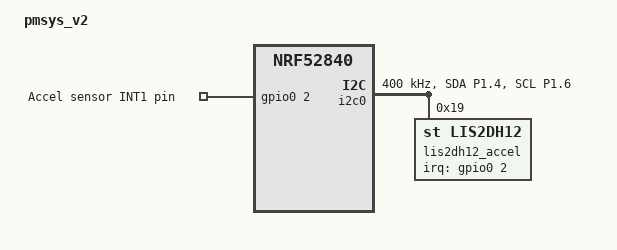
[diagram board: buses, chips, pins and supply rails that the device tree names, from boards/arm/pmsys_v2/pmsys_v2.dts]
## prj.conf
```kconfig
#
# Copyright (c) 2023 Nordic Semiconductor ASA
#
# SPDX-License-Identifier: Apache-2.0
#

# Use internal RC (no external 32khz)
CONFIG_CLOCK_CONTROL_NRF_K32SRC_RC=y
CONFIG_CLOCK_CONTROL_NRF_K32SRC_XTAL=n
CONFIG_CLOCK_CONTROL_NRF_K32SRC_250PPM=y

# Bluetooth
CONFIG_BT=y
CONFIG_BT_PERIPHERAL=y
CONFIG_BT_DEVICE_NAME="PSENS"    # This is prefix name. We will add 2 bytes address at the end of name
CONFIG_BT_LOG_LEVEL_OFF=y

# Log configuration
CONFIG_LOG=y
CONFIG_CONSOLE=y
CONFIG_USE_SEGGER_RTT=y
CONFIG_RTT_CONSOLE=y
CONFIG_LOG_BACKEND_RTT=y
CONFIG_CBPRINTF_FP_SUPPORT=y
CONFIG_LOG_MODE_IMMEDIATE=y

# Interfaces
CONFIG_I2C=y
CONFIG_I2C_LOG_LEVEL_OFF=y

# Required to disable default behavior of deep sleep on timeout
CONFIG_POWEROFF=y
CONFIG_HWINFO=y

# Disabling unused features
CONFIG_ADC=n
CONFIG_PWM=n
CONFIG_SERIAL=n
CONFIG_WATCHDOG=n
CONFIG_SPI=n
CONFIG_FLASH=n
CONFIG_DEBUG=n

# Power management
CONFIG_PM=y
CONFIG_PM_DEVICE=y
CONFIG_PM_DEVICE_RUNTIME=y


# set TX Output power
# CONFIG_BT_CTLR_TX_PWR_PLUS_4=y
# CONFIG_BT_CTLR_TX_PWR_DYNAMIC_CONTROL=y
```

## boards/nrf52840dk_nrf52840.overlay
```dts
&uart0 {
    status = "okay";
};

&pinctrl {
    i2c1_default: i2c1_default {
        group1 {
            psels = <NRF_PSEL(TWIM_SDA, 1, 4)>,
                <NRF_PSEL(TWIM_SCL, 1, 6)>;
        };
    };

    i2c1_sleep: i2c1_sleep {
        group1 {
            psels = <NRF_PSEL(TWIM_SDA, 1, 4)>,
                <NRF_PSEL(TWIM_SCL, 1, 6)>;
        };
    };

    uart0_default: uart0_default {
        group1 {
            psels = <NRF_PSEL(UART_TX, 0, 3)>,
                <NRF_PSEL(UART_RTS, 0, 27)>;
        };
        group2 {
            psels = <NRF_PSEL(UART_RX, 0, 5)>,
                <NRF_PSEL(UART_CTS, 0, 26)>;
            bias-pull-up;
        };
    };

    uart0_sleep: uart0_sleep {
        group1 {
            psels = <NRF_PSEL(UART_TX, 0, 3)>,
                <NRF_PSEL(UART_RX, 0, 5)>,
                <NRF_PSEL(UART_RTS, 0, 27)>,
                <NRF_PSEL(UART_CTS, 0, 26)>;
            low-power-enable;
        };
    };
};

&i2c0 {
    status = "disabled";
};

&i2c1 {
    status = "okay";
};

&spi1 {
    status = "disabled";
};

&spi3 {
    status = "disabled";
};

&qspi {
	status = "disabled";
};

&button0 {
    gpios = <&gpio0 2 (GPIO_PULL_DOWN | GPIO_ACTIVE_HIGH)>;
    label = "Accel sensor INT1 pin";
    zephyr,code = <INPUT_KEY_0>;
};

&button1 {
    status = "disabled";
};

&button2 {
    status = "disabled";
};

&button3 {
    status = "disabled";
};

&led0 {
    status = "disabled";
};

&led1 {
    status = "disabled";
};

&led2 {
    status = "disabled";
};

&led3 {
    status = "disabled";
};

&pwm0 {
    status = "disabled";
};
```

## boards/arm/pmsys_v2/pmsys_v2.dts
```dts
// Copyright (c) 2024 Nordic Semiconductor ASA
// SPDX-License-Identifier: Apache-2.0

/dts-v1/;
#include <nordic/nrf52840_qiaa.dtsi>

/ {
	model = "pmsys_v2";
	compatible = "pm-sys,pmsys-v2";

	chosen {
		zephyr,sram = &sram0;
		zephyr,flash = &flash0;
		zephyr,code-partition = &slot0_partition;
	};

	gpios {
		compatible = "gpio-keys";
		accelint1: accel_int1 {
			gpios = <&gpio0 2 (GPIO_PULL_DOWN | GPIO_ACTIVE_HIGH)>;
			label = "Accel sensor INT1 pin";
		};
	};

	aliases {
		accelint = &accelint1;
	};

};

&flash0 {
	partitions {
		compatible = "fixed-partitions";
		#address-cells = <1>;
		#size-cells = <1>;

		boot_partition: partition@0 {
			label = "mcuboot";
			reg = <0x0 0xc000>;
		};
		slot0_partition: partition@c000 {
			label = "image-0";
			reg = <0xc000 0x72000>;
		};
		slot1_partition: partition@7e000 {
			label = "image-1";
			reg = <0x7e000 0x72000>;
		};
		scratch_partition: partition@f0000 {
			label = "image-scratch";
			reg = <0xf0000 0xa000>;
		};
		storage_partition: partition@fa000 {
			label = "storage";
			reg = <0xfa000 0x6000>;
		};
	};
};

&gpio0 {
	status = "okay";
};

&gpio1 {
	status = "okay";
};

&pinctrl {

    i2c_alt_default: i2c_alt_default {
        group1 {
            psels = <NRF_PSEL(TWIM_SDA, 1, 4)>,
                	<NRF_PSEL(TWIM_SCL, 1, 6)>;
        };
    };

    i2c_alt_sleep: i2c_alt_sleep {
        group1 {
            psels = <NRF_PSEL(TWIM_SDA, 1, 4)>,
                	<NRF_PSEL(TWIM_SCL, 1, 6)>;
			low-power-enable;
        };
    };

};

i2c0_inst: &i2c0 {
    compatible = "nordic,nrf-twim";
    status = "okay";
    pinctrl-0 = <&i2c_alt_default>;
	pinctrl-1 = <&i2c_alt_sleep>;
	pinctrl-names = "default", "sleep";
    clock-frequency = < I2C_BITRATE_FAST >;

	lis2dh12_accel: lis2dh12-accel@19 {
		compatible = "st,lis2dh12", "st,lis2dh";
		reg = <0x19>;
		irq-gpios = <&gpio0 2 GPIO_ACTIVE_HIGH>;
	};
};
```

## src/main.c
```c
/*
 *  main.c
 *
 *  Created on: Dec 17, 2023
 */

/******************************************************************************/

/******************************************************************************/
/*                              INCLUDE FILES                                 */
/******************************************************************************/

#include <stdio.h>
#include <string.h>

#include <zephyr/kernel.h>
#include <zephyr/device.h>
#include <zephyr/sys/reboot.h>
#include <zephyr/bluetooth/bluetooth.h>
#include <zephyr/bluetooth/uuid.h>
#include <zephyr/logging/log.h>
#include <zephyr/sys/poweroff.h>
#include <hal/nrf_gpio.h>
#include <zephyr/drivers/gpio.h>
#include <helpers/nrfx_reset_reason.h>
#include "tk2700/tk2700.h"
#include "lis2dh12tr/lis2dh12tr.h"

LOG_MODULE_REGISTER(MAIN, LOG_LEVEL_INF);

/******************************************************************************/
/*                     EXPORTED TYPES and DEFINITIONS                         */
/******************************************************************************/

#define ADV_INTERVAL_S          20    /* Advertising upto ADV_INTERVAL_S seconds if no motion detected */
#define MEASURE_INTERVAL_S      5     /* Measure and update adv data every MEASURE_INTERVAL_S seconds */

#define MAX_PRESSURE            1000    /* Max is 10 bar so max value = 10 * 100 = 1000 kPA */
#define DEVICE_NAME_LENGTH      (sizeof(CONFIG_BT_DEVICE_NAME) + 5)    /* Prefix name + '-XXXX' */

#define SERVICE_UUID            0x181A      /* Custom service UUID */
#define IDX_TEMPL               4           /* Index of lo byte of temp in service data*/
#define IDX_TEMPH               5           /* Index of hi byte of temp in service data*/

//BT_GAP_ADV_SLOW_INT_MIN   0x0640 /* 1 s */
//BT_GAP_ADV_SLOW_INT_MAX   0x0780 /* 1.2 s */
#define ADV_PARAM BT_LE_ADV_PARAM(BT_LE_ADV_OPT_USE_IDENTITY, \
                  BT_GAP_ADV_SLOW_INT_MIN, \
                  BT_GAP_ADV_SLOW_INT_MAX, NULL)

/* Index in the service data */
#define PRES_INDEX              4
#define TEMP_INDEX              6

static int16_t pressure = 0, temperature = 0;
static volatile int sleep_counter = 0;

static struct k_timer m_adv_update_timer_id;

void adv_update_timer_timeout(struct k_timer *timer_id)
{
    sleep_counter++;
    LOG_INF("adv_update_timer_timeout sleep_counter %d", sleep_counter);
}

/******************************************************************************/
/*                              PRIVATE DATA                                  */
/******************************************************************************/

static uint8_t service_data[] = {
    BT_UUID_16_ENCODE(SERVICE_UUID),
    0x07,    /* Length */
    0x01,    /* Pressure type */
    0x00,    /* Value in 0.1 bar */
    0x02,    /* Temperature type */
    0x00,    /* Value in C */
};

static char device_name[DEVICE_NAME_LENGTH];
static struct bt_data adv_data[] = {
    BT_DATA_BYTES(BT_DATA_FLAGS, BT_LE_AD_GENERAL | BT_LE_AD_NO_BREDR),
    BT_DATA(BT_DATA_NAME_COMPLETE, device_name, sizeof(device_name) - 1),
    BT_DATA(BT_DATA_SVC_DATA16, service_data, ARRAY_SIZE(service_data))
};


/******************************************************************************/
/*                              EXPORTED DATA                                 */
/******************************************************************************/



/******************************************************************************/
/*                                FUNCTIONS                                   */
/******************************************************************************/



/******************************************************************************/

/*!
 * @brief  This callback is called after BT ready
 */
static void bt_ready(int err) {
    if (err) {
        LOG_ERR("Bluetooth init failed (err %d)", err);
        return;
    }
    LOG_INF("Bluetooth initialized");

    /* Update device name included mac address */
    bt_addr_le_t addr;
    size_t count = 1;
    bt_id_get(&addr, &count);
    sprintf(device_name, "%s-%02X%02X", CONFIG_BT_DEVICE_NAME, addr.a.val[4], addr.a.val[5]);
    LOG_INF("Device name %s", device_name);
}

int main(void) {
    int err;
    LOG_INF("Power up! Firmware version %s", "1.0.0");
    k_msleep(100);    /* 1 seconds */

    /* Need to initialize lis2dh12tr to pull up INT1 pin */
    if (lis2dh12tr_init() != 0) {
        LOG_INF("Failed to initialize lis2dh12tr. Restart system");
        k_msleep(100);
        sys_reboot(SYS_REBOOT_WARM);
    }

    /* Configure to generate PORT event (wakeup) on buttons press. */
    nrf_gpio_cfg_input(NRF_DT_GPIOS_TO_PSEL(DT_ALIAS(accelint), gpios), NRF_GPIO_PIN_PULLDOWN);
    nrf_gpio_cfg_sense_set(NRF_DT_GPIOS_TO_PSEL(DT_ALIAS(accelint), gpios), NRF_GPIO_PIN_SENSE_HIGH);

    /* Initialize the Bluetooth Subsystem */
    err = bt_enable(bt_ready);
    if (err) {
        LOG_ERR("Bluetooth init failed (err %d)", err);
        return 0;
    }

    /* the sensors */
    tk2700_init();

    k_timer_init(&m_adv_update_timer_id, adv_update_timer_timeout, NULL);

    /* Start advertising */
    LOG_INF("Start advertising!!!");
    err = bt_le_adv_start(ADV_PARAM, adv_data, ARRAY_SIZE(adv_data), NULL, 0);
    if (err) {
        LOG_ERR("Advertising failed to start (err %d)", err);
        sys_reboot(SYS_REBOOT_WARM);
        return 0;
    }

    k_timer_start(&m_adv_update_timer_id, K_MSEC(1000), K_MSEC(1000));

    /* Loop */
    while (1) {

        if (sleep_counter <= ADV_INTERVAL_S) 
        {
            /* Measure and update adv data */
            if ((sleep_counter % MEASURE_INTERVAL_S) == 0) 
            {
                if (tk2700_read_results(&pressure, &temperature) == 0) 
                {
                    if (pressure > MAX_PRESSURE) {
                        pressure = MAX_PRESSURE;
                    }
                    service_data[PRES_INDEX] = pressure / 10;                  /* kPa to 0.1bar */
                    service_data[TEMP_INDEX] = (int8_t) (temperature / 10);    /* C to 0.1C */
                    LOG_INF("Temperature %d, pressure %d", temperature, pressure);

                    /* Update adv */
                    err = bt_le_adv_update_data(adv_data, ARRAY_SIZE(adv_data), NULL, 0);
                    if (err) {
                        LOG_ERR("Failed to update advertising data (err %d)", err);
                    }
                }
            }

        } else {

            LOG_INF("Go to sleep...");

            bt_le_adv_stop();
            k_timer_stop(&m_adv_update_timer_id);
            lis2dh12tr_power_down();
            
            k_msleep(100);    /* 100ms before sleeping */
            sys_poweroff();
        }

        /* If have interrupt, we reset timeout counter */
        if (lis2dh12tr_wait_interrupt(K_NO_WAIT) == 0) {
            sleep_counter = 0;
            LOG_INF("Sleep after %d seconds", ADV_INTERVAL_S);
        }

        k_cpu_idle();
    }
}
```
